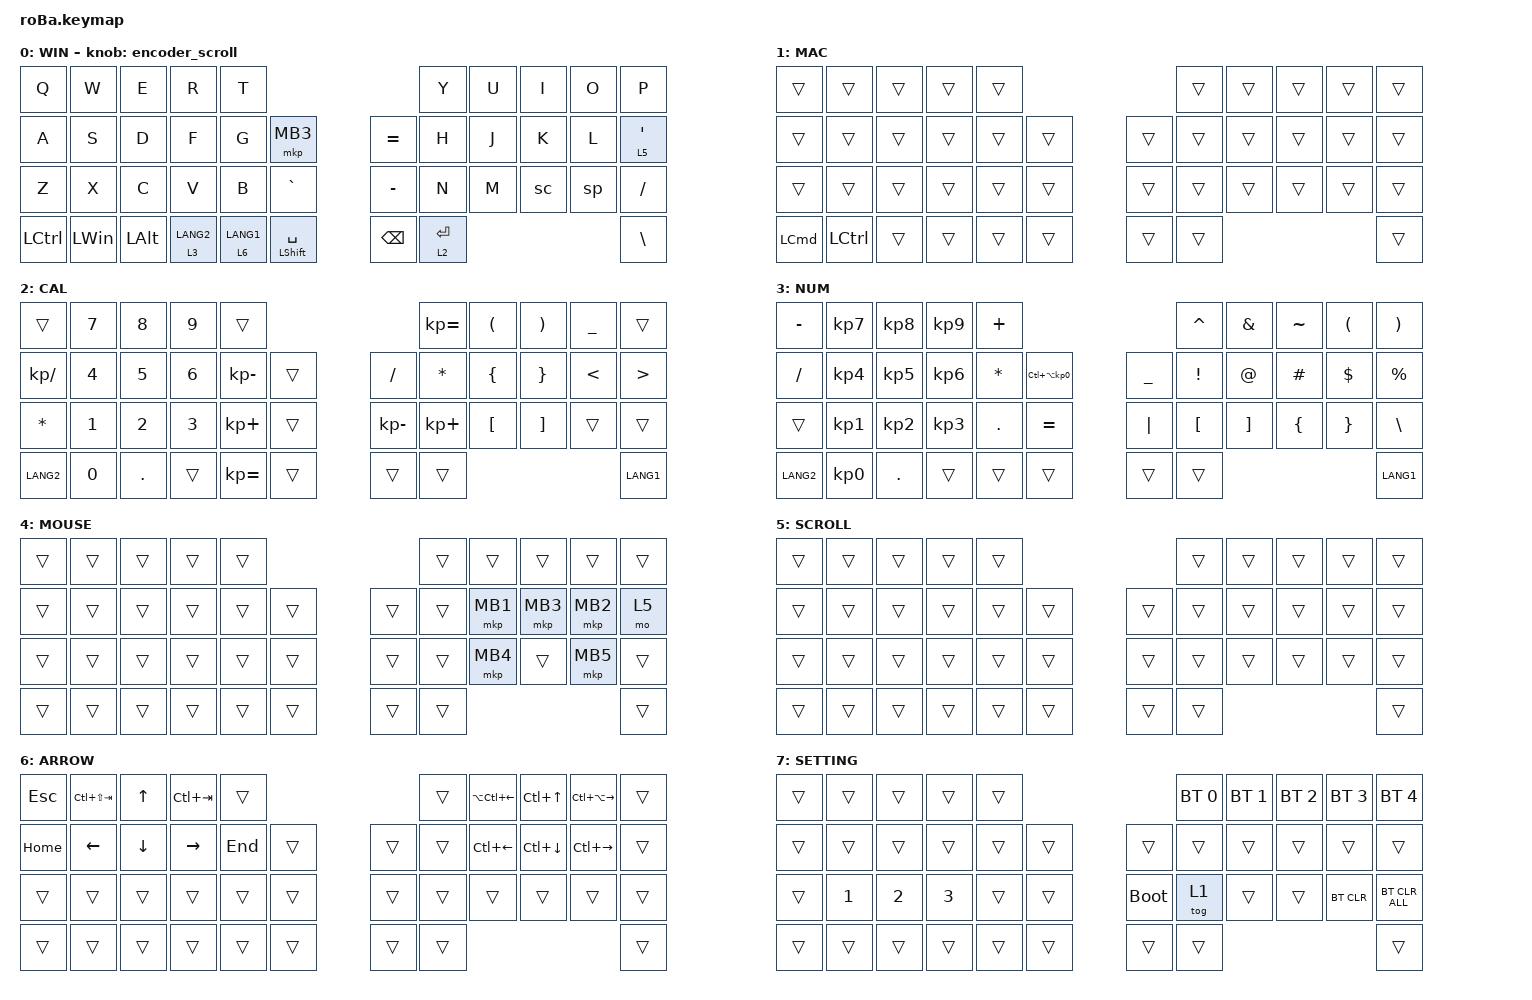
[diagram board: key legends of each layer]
#include <behaviors.dtsi>
#include <dt-bindings/zmk/bt.h>
#include <dt-bindings/zmk/keys.h>
#include <dt-bindings/zmk/pointing.h>

#define LAYER_WIN     0
#define LAYER_MAC     1
#define LAYER_CAL     2
#define LAYER_NUM     3
#define LAYER_MOUSE   4
#define LAYER_SCROLL  5
#define LAYER_ARROW   6
#define LAYER_SETTING 7

&mt {
    flavor = "balanced";
    quick-tap-ms = <0>;
};

&trackball {
    automouse-layer = <LAYER_MOUSE>;
    scroll-layers = <LAYER_SCROLL>;

    // arrows {
    //     layers = <LAYER_ARROW>;
    //     bindings =
    //         <&kp RIGHT_ARROW>,
    //         <&kp LEFT_ARROW>,
    //         <&kp UP_ARROW>,
    //         <&kp DOWN_ARROW>;
    //     tick = <10>;
    //     wait-ms = <5>;
    //     tap-ms = <5>;
    // };
};

/ {
    combos {
        compatible = "zmk,combos";

        tab {
            bindings = <&kp TAB>;
            key-positions = <11 12>;
        };

        esc {
            bindings = <&kp ESC>;
            key-positions = <1 2>;
        };

        IMEoff {
            bindings = <&kp LANG2>;
            key-positions = <12 13>;
        };

        IMEon {
            bindings = <&kp LANG1>;
            key-positions = <18 19>;
        };

        minus {
            bindings = <&kp MINUS>;
            key-positions = <8 7>;
        };

        setting {
            bindings = <&tog 7>;
            key-positions = <34 42>;
        };
    };

    macros {
        to_layer_0: to_layer_0 {
            compatible = "zmk,behavior-macro-one-param";
            #binding-cells = <1>;
            bindings = <&to 0 &macro_param_1to1 &kp MACRO_PLACEHOLDER>;
            label = "TO_LAYER_0";
        };
    };

    behaviors {
        encoder_scroll: encoder_scroll {
            compatible = "zmk,behavior-sensor-rotate";
            #sensor-binding-cells = <0>;

            // Emit 16 high-resolution units (one wheel step) per 16 ms tick.

            tap-ms = <24>;
            bindings = <&msc MOVE_Y(-1024)>, <&msc MOVE_Y(1024)>;
        };

        lt_to_layer_0: lt_to_layer_0 {
            compatible = "zmk,behavior-hold-tap";
            label = "LAYER_TAP_TO_0";
            bindings = <&mo>, <&to_layer_0>;

            #binding-cells = <2>;
            tapping-term-ms = <200>;
        };

        sc: sc {
            compatible = "zmk,behavior-mod-morph";
            label = "SC";
            bindings = <&kp COMMA>, <&kp SEMICOLON>;

            #binding-cells = <0>;
            mods = <(MOD_LSFT)>;
        };

        sp: sp {
            compatible = "zmk,behavior-mod-morph";
            label = "SP";
            bindings = <&kp PERIOD>, <&kp COLON>;

            #binding-cells = <0>;
            mods = <(MOD_LSFT)>;
        };

        sb: sb {
            compatible = "zmk,behavior-mod-morph";
            label = "SB";
            bindings = <&kp SPACE>, <&kp BACKSPACE>;

            #binding-cells = <0>;
            mods = <(MOD_LSFT)>;
        };

        qe: qe {
            compatible = "zmk,behavior-mod-morph";
            label = "QE";
            bindings = <&kp QUESTION>, <&kp EXCLAMATION>;

            #binding-cells = <0>;
            mods = <(MOD_LSFT)>;
        };

        line: line {
            compatible = "zmk,behavior-mod-morph";
            label = "LINE";
            bindings = <&kp MINUS>, <&kp PIPE>;

            #binding-cells = <0>;
            mods = <(MOD_LSFT)>;
        };

        SBlash: SBlash {
            compatible = "zmk,behavior-mod-morph";
            label = "SBLASH";
            bindings = <&kp KP_SLASH>, <&kp BACKSLASH>;

            #binding-cells = <0>;
            mods = <(MOD_LSFT)>;
        };

        gtlt: gtlt {
            compatible = "zmk,behavior-mod-morph";
            label = "GTLT";
            bindings = <&kp GREATER_THAN>, <&kp LESS_THAN>;

            #binding-cells = <0>;
            mods = <(MOD_LSFT)>;
        };
    };

    keymap {
        compatible = "zmk,keymap";

        default_win {
            display-name = "WIN";
            bindings = <
&kp Q      &kp W         &kp E         &kp R        &kp T                                                 &kp Y        &kp U  &kp I  &kp O  &kp P
&kp A      &kp S         &kp D         &kp F        &kp G        &mkp MB3                  &kp EQUAL      &kp H        &kp J  &kp K  &kp L  &lt 5 SINGLE_QUOTE
&kp Z      &kp X         &kp C         &kp V        &kp B        &kp GRAVE                 &kp MINUS      &kp N        &kp M  &sc    &sp    &kp SLASH
&kp LCTRL  &kp LEFT_WIN  &kp LEFT_ALT  &lt 3 LANG2  &lt 6 LANG1  &mt LEFT_SHIFT SPACE      &kp BACKSPACE  &lt 2 ENTER                       &kp BACKSLASH
            >;

            sensor-bindings = <&encoder_scroll>;
        };

        dafault_mac {
            display-name = "MAC";
            bindings = <
&trans            &trans     &trans  &trans  &trans                      &trans  &trans  &trans  &trans  &trans
&trans            &trans     &trans  &trans  &trans  &trans      &trans  &trans  &trans  &trans  &trans  &trans
&trans            &trans     &trans  &trans  &trans  &trans      &trans  &trans  &trans  &trans  &trans  &trans
&kp LEFT_COMMAND  &kp LCTRL  &trans  &trans  &trans  &trans      &trans  &trans                          &trans
            >;
        };

        CAL {
            display-name = "CAL";
            bindings = <
&trans        &kp NUMBER_7  &kp NUMBER_8  &kp NUMBER_9  &trans                                  &kp KP_EQUAL  &kp LEFT_PARENTHESIS  &kp RIGHT_PARENTHESIS  &kp UNDER      &trans
&kp KP_SLASH  &kp NUMBER_4  &kp NUMBER_5  &kp NUMBER_6  &kp KP_MINUS  &trans      &kp SLASH     &kp ASTERISK  &kp LEFT_BRACE        &kp RIGHT_BRACE        &kp LESS_THAN  &kp GREATER_THAN
&kp ASTERISK  &kp NUMBER_1  &kp NUMBER_2  &kp NUMBER_3  &kp KP_PLUS   &trans      &kp KP_MINUS  &kp KP_PLUS   &kp LEFT_BRACKET      &kp RIGHT_BRACKET      &trans         &trans
&kp LANG2     &kp N0        &kp PERIOD    &trans        &kp KP_EQUAL  &trans      &trans        &trans                                                                    &kp LANG1
            >;
        };

        NUM {
            display-name = "NUM";
            bindings = <
&kp MINUS  &kp KP_NUMBER_7  &kp KP_NUMBER_8  &kp KP_NUMBER_9  &kp PLUS                                                   &kp CARET         &kp AMPERSAND      &kp TILDE       &kp LEFT_PARENTHESIS  &kp RIGHT_PARENTHESIS
&kp SLASH  &kp KP_NUMBER_4  &kp KP_NUMBER_5  &kp KP_NUMBER_6  &kp ASTERISK  &kp LC(LA(KP_NUMBER_0))      &kp UNDERSCORE  &kp EXCLAMATION   &kp AT_SIGN        &kp HASH        &kp DOLLAR            &kp PERCENT
&trans     &kp KP_NUMBER_1  &kp KP_NUMBER_2  &kp KP_NUMBER_3  &kp PERIOD    &kp EQUAL                    &kp PIPE        &kp LEFT_BRACKET  &kp RIGHT_BRACKET  &kp LEFT_BRACE  &kp RIGHT_BRACE       &kp BACKSLASH
&kp LANG2  &kp KP_NUMBER_0  &kp PERIOD       &trans           &trans        &trans                       &trans          &trans                                                                     &kp LANG1
            >;
        };

        MOUSE {
            display-name = "MOUSE";
            bindings = <
&trans  &trans  &trans  &trans  &trans                      &trans  &trans    &trans    &trans    &trans
&trans  &trans  &trans  &trans  &trans  &trans      &trans  &trans  &mkp MB1  &mkp MB3  &mkp MB2  &mo 5
&trans  &trans  &trans  &trans  &trans  &trans      &trans  &trans  &mkp MB4  &trans    &mkp MB5  &trans
&trans  &trans  &trans  &trans  &trans  &trans      &trans  &trans                                &trans
            >;
        };

        SCROLL {
            display-name = "SCROLL";
            bindings = <
&trans  &trans  &trans  &trans  &trans                      &trans  &trans  &trans  &trans  &trans
&trans  &trans  &trans  &trans  &trans  &trans      &trans  &trans  &trans  &trans  &trans  &trans
&trans  &trans  &trans  &trans  &trans  &trans      &trans  &trans  &trans  &trans  &trans  &trans
&trans  &trans  &trans  &trans  &trans  &trans      &trans  &trans                          &trans
            >;
        };

        ARROW {
            display-name = "ARROW";
            bindings = <
&kp ESCAPE  &kp LC(LS(TAB))  &kp UP_ARROW    &kp LC(TAB)      &trans                       &trans  &kp LA(LC(LEFT_ARROW))  &kp LC(UP_ARROW)    &kp LC(LA(RIGHT_ARROW))  &trans
&kp HOME    &kp LEFT_ARROW   &kp DOWN_ARROW  &kp RIGHT_ARROW  &kp END  &trans      &trans  &trans  &kp LC(LEFT_ARROW)      &kp LC(DOWN_ARROW)  &kp LC(RIGHT_ARROW)      &trans
&trans      &trans           &trans          &trans           &trans   &trans      &trans  &trans  &trans                  &trans              &trans                   &trans
&trans      &trans           &trans          &trans           &trans   &trans      &trans  &trans                                                                       &trans
            >;
        };

        setting {
            display-name = "SETTING";
            bindings = <
&trans  &trans        &trans        &trans        &trans                           &bt BT_SEL 0  &bt BT_SEL 1  &bt BT_SEL 2  &bt BT_SEL 3  &bt BT_SEL 4
&trans  &trans        &trans        &trans        &trans  &trans      &trans       &trans        &trans        &trans        &trans        &trans
&trans  &kp NUMBER_1  &kp NUMBER_2  &kp NUMBER_3  &trans  &trans      &bootloader  &tog 1        &trans        &trans        &bt BT_CLR    &bt BT_CLR_ALL
&trans  &trans        &trans        &trans        &trans  &trans      &trans       &trans                                                  &trans
            >;
        };
    };
};
